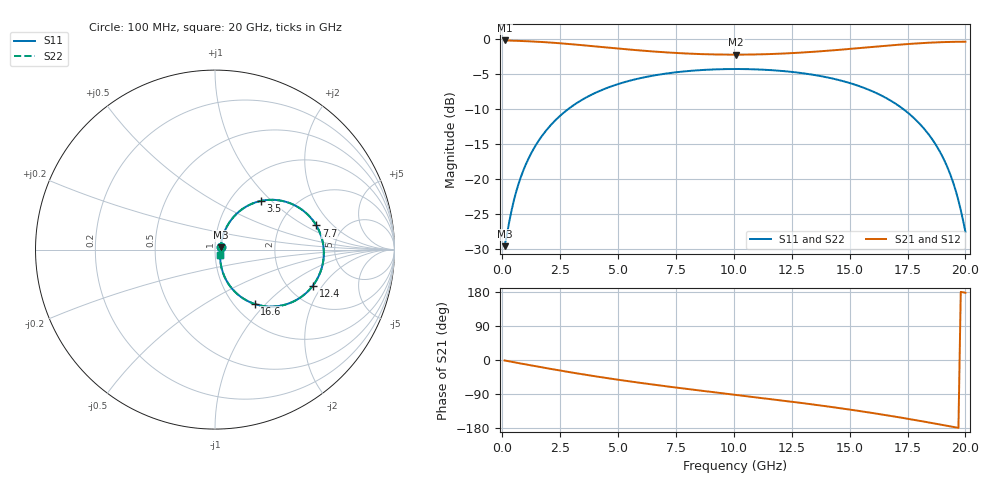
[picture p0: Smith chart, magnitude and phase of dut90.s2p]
! Touchstone file exported from HFSS 2026.1.0
!  File:  C:/ffzhzh/LocalFiles/Ansys_Project_Files/temp_train_TSV_RDL_90_1782973100_15332.aedt
!  Generated:  02:34:42 PM Jul  2, 2026
!  Design:  TSV_RDL
!  Project:  temp_train_TSV_RDL_90_1782973100_15332
! Variables:
!  h_bsmrdl = 2.16um
!  h_ox = 20um
!  h_rdl = 5um
!  h_sub = 60.56um
!  h_tmrdl = 2.66um
!  h_tsv = 60.56um
!  h_via = 3um
!  l_bsmrdl = 370.91um
!  l_sub = 3137.37um
!  l_tmrdl = 375.17um
!  m_sub = 200um
!  pitch = 47.93um
!  r_tsv = 2.14um
!  s_tmrdl = 10um
!  w_bsmrdl = 13.42um
!  w_sub = 500um
!  w_tmrdl = 27.9um
!  x_tsv_center1 = 389.12um
!  x_tsv_center2 = 773.45um
!  x_tsv_center3 = 1176.52um
!  x_tsv_center4 = 1560.85um
!  x_tsv_center5 = 1963.92um
!  x_tsv_center6 = 2348.25um
# GHz S MA R 50.000000
! Terminal data exported
! Port[1] = TM_RDL1_1_T1
! Port[2] = TM_RDL5_1_T1
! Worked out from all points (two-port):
!   200 points, 100 MHz to 20 GHz, reference 50 ohm
!   highest |S21| = -0.27 dB at 100 MHz (marker M1); lowest = -2.3 dB at 10.1 GHz (marker M2)
!   |S21| within 3 dB of the highest: start of sweep to end of sweep
!   lowest |S11| = -29.5 dB at 100 MHz (marker M3), VSWR 1.07, Z = 53.2 + j1.31 ohm
!   |S11| at or under -10 dB: start of sweep to 2.862 GHz; 17.3 GHz to end of sweep
!   |S22| runs from -29.5 to -4.3 dB; largest |S21 - S12| = 4.9e-14
!   S11 on the Smith chart (normalised r, x): 100 MHz: 1.06, +0.03; 3.5 GHz: 1.37, +0.86; 7.7 GHz: 3.19, +1.29; 12.4 GHz: 2.69, -1.63; 16.6 GHz: 1.23, -0.87; 20 GHz: 1.06, -0.07
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0.1  0.03332 21.7  0.9692 -1.2  0.9692 -1.2  0.03332 21.7
! Gamma 0 0 0 0
! Port Impedance 50 0 50 0
0.4  0.05986 52.6  0.9664 -4.7  0.9664 -4.7  0.05986 52.6
0.6  0.08132 58.9  0.9639 -7.0  0.9639 -7.0  0.08132 58.9
0.9  0.1143 62.3  0.9598 -10.4  0.9598 -10.4  0.1143 62.3
1.3  0.1583 62.5  0.9532 -14.9  0.9532 -14.9  0.1583 62.5
2.2  0.253 57.5  0.9334 -24.7  0.9334 -24.7  0.253 57.5
3.5  0.371 46.9  0.8957 -38.0  0.8957 -38.0  0.371 46.9
5  0.4743 34.3  0.8492 -52.1  0.8492 -52.1  0.4743 34.3
6.8  0.555 20.1  0.8029 -67.2  0.8029 -67.2  0.555 20.1
7.7  0.5803 13.4  0.7864 -74.2  0.7864 -74.2  0.5803 13.4
10.1  0.6071 -3.7  0.768 -92.1  0.768 -92.1  0.6071 -3.7
12.4  0.5814 -20.1  0.786 -109.3  0.786 -109.3  0.5815 -20.1
13.4  0.5533 -27.6  0.8041 -117.2  0.8041 -117.2  0.5533 -27.6
15.1  0.4772 -41.1  0.8462 -131.7  0.8462 -131.7  0.4772 -41.1
16.6  0.3756 -53.8  0.8893 -145.8  0.8893 -145.8  0.3757 -53.8
16.7  0.3676 -54.7  0.8922 -146.8  0.8922 -146.8  0.3677 -54.7
17.9  0.26 -64.7  0.9233 -159.2  0.9233 -159.2  0.26 -64.7
18.8  0.1672 -70.4  0.9402 -169.0  0.9402 -169.0  0.1673 -70.4
19.2  0.124 -70.9  0.9451 -173.5  0.9451 -173.5  0.124 -71.0
19.5  0.09149 -68.9  0.9476 -176.9  0.9476 -176.9  0.09151 -68.9
19.7  0.07039 -64.7  0.9486 -179.1  0.9486 -179.1  0.07041 -64.8
20  0.04225 -46.8  0.9492 177.5  0.9492 177.5  0.04224 -46.9
